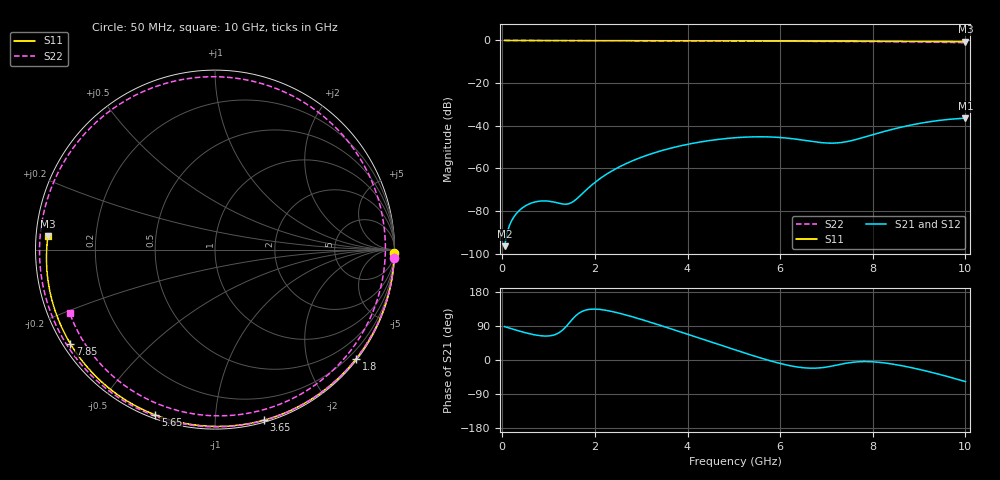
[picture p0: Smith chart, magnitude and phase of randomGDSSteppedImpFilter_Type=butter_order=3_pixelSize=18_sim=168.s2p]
! freq	dB(S11)	phase(S11)	dB(S12)	phase(S12)
!  dB(S21)	phase(S21)	dB(S22)	phase(S22)
!S-par simulation data
#  GHz  S  DB  R 50
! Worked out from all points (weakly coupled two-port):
!   200 points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, 50 MHz to 10 GHz, reference 50 ohm
!   highest |S21| = -36.47 dB at 10 GHz (marker M1); lowest = -96.5 dB at 50 MHz (marker M2)
!   lowest |S11| = -0.6 dB at 10 GHz (marker M3), VSWR 29.14, Z = 1.72 + j2.01 ohm
!   |S11| at or under -10 dB: nowhere
!   |S22| runs from -1.1 to 0.0 dB; largest |S21 - S12| = 0
!   S11 on the Smith chart (normalised r, x): 50 MHz: open; 1.8 GHz: 0.03, -2.93; 3.65 GHz: 0.02, -1.33; 5.65 GHz: 0.02, -0.70; 7.85 GHz: 0.02, -0.30; 10 GHz: 0.03, +0.04
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0.05  -0.00 -1.1  -96.51 88.1  -96.51 88.1  -0.00 -2.8
0.35  -0.01 -7.5  -80.12 77.0  -80.12 77.0  -0.03 -19.6
0.65  -0.02 -13.8  -76.12 67.6  -76.12 67.6  -0.05 -36.1
0.95  -0.03 -20.1  -75.30 63.2  -75.30 63.2  -0.07 -52.3
1.4  -0.04 -29.5  -76.76 91.4  -76.76 91.4  -0.09 -75.6
1.75  -0.05 -36.7  -71.40 129.6  -71.40 129.6  -0.11 -92.9
1.8  -0.05 -37.7  -70.38 131.7  -70.38 131.7  -0.11 -95.3
2.2  -0.06 -45.8  -63.46 131.9  -63.46 131.9  -0.13 -114.1
2.65  -0.07 -54.7  -58.01 119.5  -58.01 119.5  -0.15 -134.5
3.4  -0.09 -69.2  -51.94 91.8  -51.94 91.8  -0.18 -167.4
3.65  -0.10 -74.0  -50.46 82.0  -50.46 82.0  -0.19 -178.4
4.35  -0.12 -86.9  -47.36 53.8  -47.36 53.8  -0.24 149.9
5.05  -0.15 -99.4  -45.60 25.7  -45.60 25.7  -0.29 115.5
5.65  -0.18 -109.8  -45.20 2.7  -45.20 2.7  -0.33 83.0
6.15  -0.21 -118.4  -45.82 -13.4  -45.82 -13.4  -0.37 53.9
6.7  -0.25 -127.7  -47.40 -21.6  -47.40 -21.6  -0.42 20.4
7.25  -0.29 -136.9  -48.04 -12.8  -48.04 -12.8  -0.47 -13.1
7.85  -0.34 -147.0  -45.17 -4.1  -45.17 -4.1  -0.54 -47.9
8.35  -0.39 -155.4  -42.10 -9.3  -42.10 -9.3  -0.62 -74.9
9.1  -0.47 -168.4  -38.57 -27.5  -38.57 -27.5  -0.77 -112.5
9.6  -0.54 -177.3  -37.12 -43.1  -37.12 -43.1  -0.91 -136.7
10  -0.60 175.4  -36.47 -57.0  -36.47 -57.0  -1.08 -156.6
